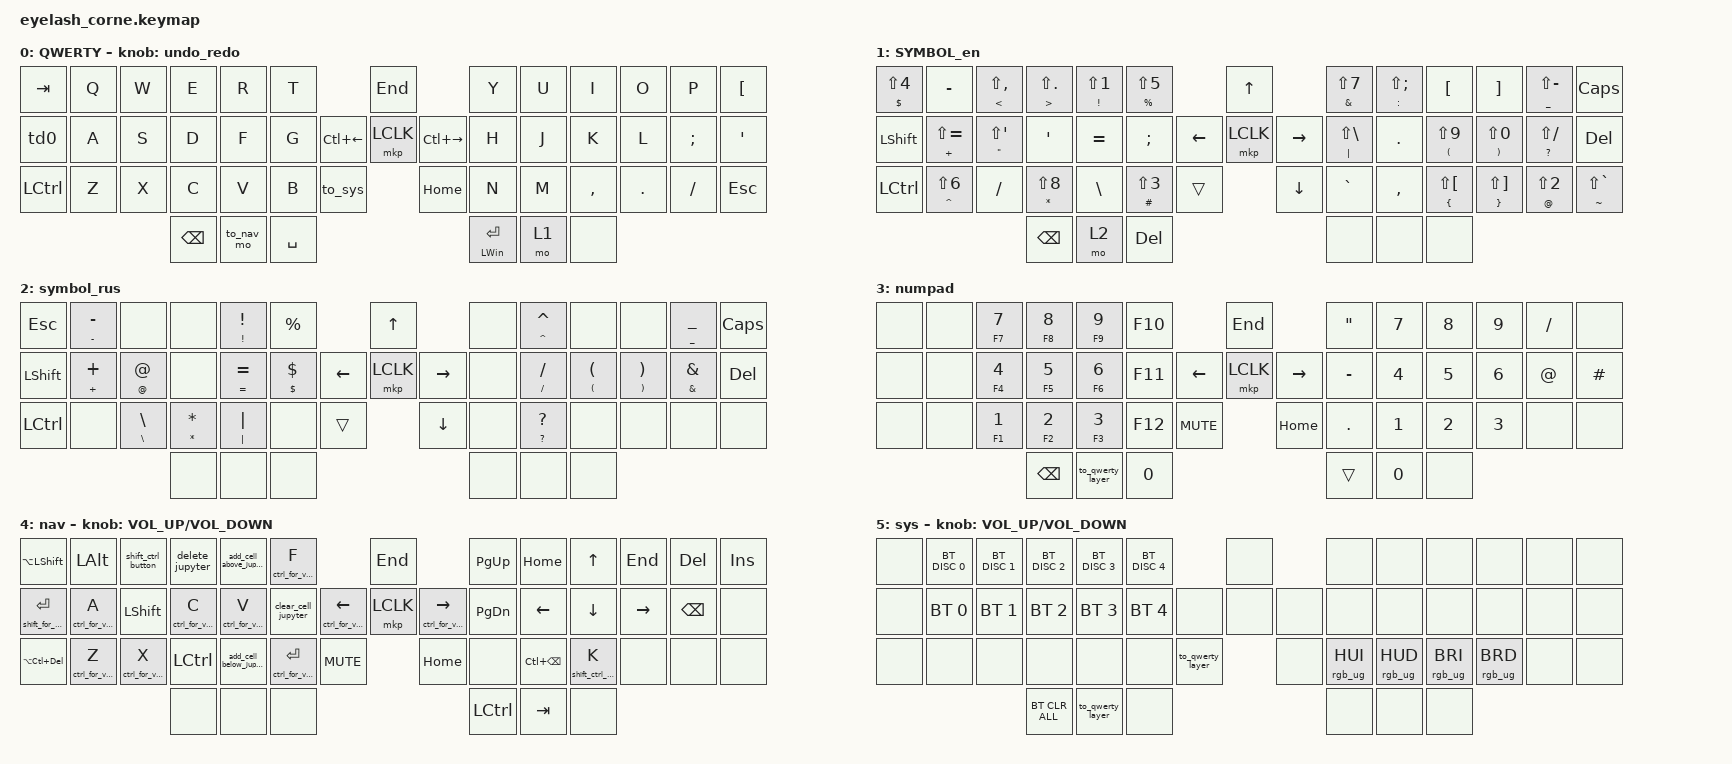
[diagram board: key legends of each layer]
#define ZMK_POINTING_DEFAULT_MOVE_VAL 1200  // 600
#define ZMK_POINTING_DEFAULT_SCRL_VAL 25   // 10

#include <input/processors.dtsi>
#include <zephyr/dt-bindings/input/input-event-codes.h>
#include <behaviors.dtsi>
#include <dt-bindings/zmk/bt.h>
#include <dt-bindings/zmk/keys.h>
#include <dt-bindings/zmk/pointing.h>
#include <dt-bindings/zmk/rgb.h>

&mmv_input_listener { input-processors = <&zip_xy_scaler 2 1>; };

&msc_input_listener { input-processors = <&zip_scroll_scaler 2 1>; };

&msc {
    acceleration-exponent = <1>;      // 0
    time-to-max-speed-ms = <100>;       // 300
    delay-ms = <0>;                   // 0
};

&mmv {
    time-to-max-speed-ms = <500>;
    acceleration-exponent = <1>;
    trigger-period-ms = <16>;
};

/ {
    behaviors {
        td0: td0 {
            compatible = "zmk,behavior-tap-dance";
            display-name = "Shift/Caps Lock Tap Dance";
            #binding-cells = <0>;
            bindings = <&capital_letter LEFT_SHIFT>, <&capital_word>;
        };

        auto_shift: auto_shift {
            compatible = "zmk,behavior-hold-tap";
            label = "AUTO_SHIFT";
            bindings = <&shift>, <&kp>;

            #binding-cells = <2>;
            tapping-term-ms = <180>;
            flavor = "tap-preferred";
        };

        undo_redo: undo_redo {
            compatible = "zmk,behavior-sensor-rotate";
            label = "UNDO_REDO";
            #sensor-binding-cells = <0>;
            bindings = <&kp LS(LC(Z))>, <&kp LC(Z)>;
        };

        capital_word: capital_word {
            compatible = "zmk,behavior-caps-word";
            label = "CAPITAL_WORD";
            #binding-cells = <0>;
            mods = <(MOD_LSFT)>;
            continue-list = <UNDERSCORE COMMA DOT LEFT_BRACKET RIGHT_BRACKET>;
        };

        capital_letter: capital_letter {
            compatible = "zmk,behavior-sticky-key";
            label = "CAPITAL_LETTER";
            bindings = <&kp>;
            #binding-cells = <1>;
            quick-release;
            release-after-ms = <2000>;
        };

        new_behavior: new_behavior {
            compatible = "zmk,behavior-caps-word";
            label = "NEW_BEHAVIOR";
            #binding-cells = <0>;
            mods = <(MOD_LSFT)>;
            continue-list = <UNDERSCORE COMMA DOT LEFT_BRACKET RIGHT_BRACKET SLASH SINGLE_QUOTE>;
        };
    };

    rgb_encoder: rgb_encoder {
        compatible = "zmk,behavior-sensor-rotate";
        #sensor-binding-cells = <0>;
        bindings = <&rgb_ug RGB_BRI>, <&rgb_ug RGB_BRD>;
    };

    scroll_encoder: scroll_encoder {
        compatible = "zmk,behavior-sensor-rotate";
        #sensor-binding-cells = <0>;
        bindings = <&msc SCRL_DOWN>, <&msc SCRL_UP>;

        tap-ms = <100>;
    };

    combos {
        compatible = "zmk,combos";

        to_numpad {
            bindings = <&to_numpad>;
            key-positions = <43 46>;
        };

        hard {
            bindings = <&kp RIGHT_BRACKET>;
            key-positions = <17 12>;
        };

        left_sk {
            bindings = <&kp LEFT_PARENTHESIS>;
            key-positions = <16 15>;
        };

        right_skb {
            bindings = <&kp RIGHT_PARENTHESIS>;
            key-positions = <25 24>;
        };

        left_br {
            bindings = <&kp LEFT_BRACKET>;
            key-positions = <3 2>;
        };

        right_br {
            bindings = <&kp RIGHT_BRACKET>;
            key-positions = <9 10>;
        };

        left_brace {
            bindings = <&kp LEFT_BRACE>;
            key-positions = <31 30>;
        };

        right_brace {
            bindings = <&kp RIGHT_BRACE>;
            key-positions = <38 39>;
        };

        dot {
            bindings = <&kp DOT>;
            key-positions = <23 24>;
        };

        quotes {
            bindings = <&kp SQT>;
            key-positions = <17 16>;
        };

        comma {
            bindings = <&kp COMMA>;
            key-positions = <37 24>;
        };

        ravno {
            bindings = <&kp EQUAL>;
            key-positions = <17 23>;
        };

        plus {
            bindings = <&kp PLUS>;
            key-positions = <4 8>;
        };

        minus {
            bindings = <&kp MINUS>;
            key-positions = <32 37>;
        };

        underscore {
            bindings = <&kp UNDERSCORE>;
            key-positions = <16 24>;
        };

        colon {
            bindings = <&kp COLON>;
            key-positions = <23 25>;
        };
    };

    macros {
        shift: shift {
            compatible = "zmk,behavior-macro-one-param";
            #binding-cells = <1>;
            bindings =
                <&macro_press>,
                <&kp LEFT_SHIFT>,
                <&macro_tap>,
                <&macro_param_1to1 &kp MACRO_PLACEHOLDER>,
                <&macro_release>,
                <&kp LEFT_SHIFT>;

            label = "SHIFT";
        };

        as: as {
            compatible = "zmk,behavior-macro-one-param";
            #binding-cells = <1>;
            bindings =
                <&macro_press>,
                <&macro_param_1to1 &macro_param_1to2 &auto_shift MACRO_PLACEHOLDER MACRO_PLACEHOLDER>,
                <&macro_pause_for_release>,
                <&macro_release>,
                <&macro_param_1to1 &macro_param_1to2 &auto_shift MACRO_PLACEHOLDER MACRO_PLACEHOLDER>;

            label = "AS";
        };

        to_sys: to_sys {
            compatible = "zmk,behavior-macro";
            #binding-cells = <0>;
            bindings =
                <&macro_press>,
                <&rgb_ug RGB_COLOR_HSB(0,90,49) &rgb_ug RGB_ON &to 5>,
                <&macro_release>;

            label = "TO_SYS";
        };

        to_qwerty_layer: to_symbol_layer {
            compatible = "zmk,behavior-macro";
            #binding-cells = <0>;
            bindings =
                <&macro_press>,
                <&rgb_ug RGB_OFF &to 0>,
                <&macro_release>;

            label = "TO_SYMBOL_LAYER";
        };

        to_numpad: to_numpad {
            compatible = "zmk,behavior-macro";
            #binding-cells = <0>;
            bindings =
                <&macro_press>,
                <&rgb_ug RGB_COLOR_HSB(215,90,49) &rgb_ug RGB_ON &to 3>,
                <&macro_release>;

            label = "TO_NUMPAD";
        };

        delete_jupyter: delete_jupyter {
            compatible = "zmk,behavior-macro";
            #binding-cells = <0>;
            bindings =
                <&macro_tap>,
                <&kp ESC>,
                <&macro_tap>,
                <&kp D>,
                <&macro_tap>,
                <&kp D>,
                <&macro_tap>,
                <&kp ENTER>;

            label = "DELETE_JUPYTER";
        };

        add_cell_above_jupyter: add_cell_above_jupyter {
            compatible = "zmk,behavior-macro";
            #binding-cells = <0>;
            bindings =
                <&macro_tap>,
                <&kp ESC>,
                <&macro_tap>,
                <&kp A>,
                <&macro_tap>,
                <&kp ENTER>;

            label = "ADD_CELL_ABOVE_JUPYTER";
        };

        add_cell_below_jupyter: add_cell_below_jupyter {
            compatible = "zmk,behavior-macro";
            #binding-cells = <0>;
            bindings =
                <&macro_tap>,
                <&kp ESC>,
                <&macro_tap>,
                <&kp B>,
                <&macro_tap>,
                <&kp ENTER>;

            label = "ADD_CELL_BELOW_JUPYTER";
        };

        to_nav_mo: to_nav_mo {
            compatible = "zmk,behavior-macro";
            #binding-cells = <0>;
            bindings =
                <&macro_press>,
                <&mo 4>,
                <&macro_tap>,
                <&rgb_ug RGB_COLOR_HSB(116,90,49) &rgb_ug RGB_ON>,
                <&macro_pause_for_release>,
                <&macro_release>,
                <&mo 4>,
                <&macro_tap>,
                <&rgb_ug RGB_OFF>;

            label = "TO_NAV_MO";
        };

        shift_for_vrm: shift_for_vrm {
            compatible = "zmk,behavior-macro-one-param";
            #binding-cells = <1>;
            bindings =
                <&macro_press>,
                <&kp LEFT_SHIFT>,
                <&macro_wait_time 200>,
                <&macro_tap>,
                <&macro_param_1to1 &kp MACRO_PLACEHOLDER>,
                <&macro_release>,
                <&kp LEFT_SHIFT>;

            label = "SHIFT_FOR_VRM";
        };

        ctrl_for_vrm: ctrl_for_vrm {
            compatible = "zmk,behavior-macro-one-param";
            #binding-cells = <1>;
            bindings =
                <&macro_press>,
                <&kp LCTRL>,
                <&macro_wait_time 200>,
                <&macro_tap>,
                <&macro_param_1to1 &kp MACRO_PLACEHOLDER>,
                <&macro_release>,
                <&kp LCTRL>;

            label = "CTRL_FOR_VRM";
        };

        alt_tab_vrm: alt_tab_vrm {
            compatible = "zmk,behavior-macro";
            #binding-cells = <0>;
            bindings =
                <&macro_press>,
                <&kp LEFT_ALT>,
                <&macro_wait_time 200>,
                <&macro_tap>,
                <&kp TAB>,
                <&macro_pause_for_release>,
                <&macro_release>,
                <&kp LEFT_ALT>;

            label = "ALT_TAB_VRM";
        };

        clear_cell_jupyter: clear_cell_jupyter {
            compatible = "zmk,behavior-macro";
            #binding-cells = <0>;
            bindings =
                <&macro_tap>,
                <&kp ESCAPE>,
                <&macro_press>,
                <&kp LEFT_ALT>,
                <&macro_wait_time 200>,
                <&macro_tap>,
                <&kp C>,
                <&macro_release>,
                <&kp LEFT_ALT>;

            label = "CLEAR_CELL_JUPYTER";
        };

        shift_ctrl_vrm: shift_ctrl_vrm {
            compatible = "zmk,behavior-macro-one-param";
            #binding-cells = <1>;
            bindings =
                <&macro_press>,
                <&kp LEFT_SHIFT &kp LCTRL>,
                <&macro_wait_time 200>,
                <&macro_tap>,
                <&macro_param_1to1 &kp MACRO_PLACEHOLDER>,
                <&macro_release>,
                <&kp LEFT_SHIFT &kp LCTRL>;

            label = "SHIFT_CTRL_VRM";
        };

        shift_ctrl_button: shift_ctrl_button {
            compatible = "zmk,behavior-macro";
            #binding-cells = <0>;
            bindings =
                <&macro_press>,
                <&kp LEFT_SHIFT &kp LCTRL>,
                <&macro_pause_for_release>,
                <&macro_release>,
                <&kp LEFT_SHIFT &kp LCTRL>;

            label = "SHIFT_CTRL_BUTTON";
        };
    };

    keymap {
        compatible = "zmk,keymap";

        default_layer {
            display-name = "QWERTY";
            bindings = <
&kp TAB    &kp Q  &kp W  &kp E          &kp R       &kp T                                     &kp END                         &kp Y               &kp U  &kp I      &kp O    &kp P      &kp LEFT_BRACKET
&td0       &kp A  &kp S  &kp D          &kp F       &kp G                 &kp LC(LEFT_ARROW)  &mkp LCLK  &kp LC(RIGHT_ARROW)  &kp H               &kp J  &kp K      &kp L    &kp SEMI   &kp SQT
&kp LCTRL  &kp Z  &kp X  &kp C          &kp V       &kp B      &to_sys                        &kp HOME                        &kp N               &kp M  &kp COMMA  &kp DOT  &kp SLASH  &kp ESCAPE
                         &kp BACKSPACE  &to_nav_mo  &kp SPACE                                                                 &mt LEFT_WIN ENTER  &mo 1  &none
            >;

            sensor-bindings = <&undo_redo>;
        };

        symbol_eng {
            display-name = "SYMBOL_en";
            bindings = <
&auto_shift DOLLAR LS(NUMBER_4)  &kp MINUS                       &auto_shift LESS_THAN LS(COMMA)    &auto_shift GREATER_THAN LS(PERIOD)  &auto_shift EXCLAMATION LS(NUMBER_1)  &auto_shift PERCENT LS(N5)                               &kp UP_ARROW               &auto_shift AMPERSAND LS(N7)    &auto_shift COLON LS(SEMI)  &kp LBKT                                 &kp RIGHT_BRACKET                          &auto_shift UNDERSCORE LS(MINUS)  &kp CAPS
&kp LEFT_SHIFT                   &auto_shift PLUS LS(EQUAL)      &auto_shift DOUBLE_QUOTES LS(SQT)  &kp SINGLE_QUOTE                     &kp EQUAL                             &kp SEMICOLON                            &kp LEFT_ARROW  &mkp LCLK       &kp RIGHT  &auto_shift PIPE LS(BACKSLASH)  &kp DOT                     &auto_shift LEFT_PARENTHESIS LS(N9)      &auto_shift RIGHT_PARENTHESIS LS(N0)       &auto_shift QUESTION LS(SLASH)    &kp DEL
&kp LCTRL                        &auto_shift CARET LS(NUMBER_6)  &kp SLASH                          &auto_shift ASTERISK LS(N8)          &kp BACKSLASH                         &auto_shift HASH LS(NUMBER_3)  &trans                    &kp DOWN_ARROW             &kp GRAVE                       &kp COMMA                   &auto_shift LEFT_BRACE LS(LEFT_BRACKET)  &auto_shift RIGHT_BRACE LS(RIGHT_BRACKET)  &auto_shift AT_SIGN LS(NUMBER_2)  &auto_shift TILDE LS(GRAVE)
                                                                                                    &kp BACKSPACE                        &mo 2                                 &kp DELETE                                                                          &none                           &none                       &none
            >;
        };

        symbol_rus {
            bindings = <
&kp ESC         &auto_shift MINUS MINUS  &none                            &none                          &auto_shift EXCLAMATION EXCLAMATION  &kp PERCENT                                    &kp UP_ARROW               &none  &auto_shift CARET CARET        &none                                          &none                                            &auto_shift UNDERSCORE UNDERSCORE  &kp CAPSLOCK
&kp LEFT_SHIFT  &auto_shift PLUS PLUS    &auto_shift AT_SIGN AT_SIGN      &none                          &auto_shift EQUAL EQUAL              &auto_shift DOLLAR DOLLAR            &kp LEFT  &mkp LCLK       &kp RIGHT  &none  &auto_shift SLASH SLASH        &auto_shift LEFT_PARENTHESIS LEFT_PARENTHESIS  &auto_shift RIGHT_PARENTHESIS RIGHT_PARENTHESIS  &auto_shift AMPERSAND AMPERSAND    &kp DEL
&kp LCTRL       &none                    &auto_shift BACKSLASH BACKSLASH  &auto_shift ASTERISK ASTERISK  &auto_shift PIPE PIPE                &none                      &trans              &kp DOWN_ARROW             &none  &auto_shift QUESTION QUESTION  &none                                          &none                                            &none                              &none
                                                                          &none                          &none                                &none                                                                     &none  &none                          &none
            >;
        };

        numpad {
            display-name = "numpad";
            bindings = <
&none  &none  &mt F7 NUMBER_7  &mt F8 NUMBER_8  &mt F9 NUMBER_9   &kp F10                                     &kp END               &kp DOUBLE_QUOTES  &kp NUMBER_7  &kp NUMBER_8  &kp NUMBER_9  &kp SLASH    &none
&none  &none  &mt F4 NUMBER_4  &mt F5 NUMBER_5  &mt F6 NUMBER_6   &kp F11                     &kp LEFT_ARROW  &mkp LCLK  &kp RIGHT  &kp MINUS          &kp NUMBER_4  &kp NUMBER_5  &kp NUMBER_6  &kp AT_SIGN  &kp POUND
&none  &none  &mt F1 NUMBER_1  &mt F2 NUMBER_2  &mt F3 NUMBER_3   &kp F12       &kp C_MUTE                    &kp HOME              &kp DOT            &kp NUMBER_1  &kp NUMBER_2  &kp NUMBER_3  &none        &none
                               &kp BACKSPACE    &to_qwerty_layer  &kp NUMBER_0                                                      &trans             &kp NUMBER_0  &none
            >;
        };

        navigation {
            display-name = "nav";
            bindings = <
&kp LA(LEFT_SHIFT)    &kp LEFT_ALT     &shift_ctrl_button  &delete_jupyter  &add_cell_above_jupyter  &ctrl_for_vrm F                                              &kp END                               &kp PG_UP      &kp HOME           &kp UP_ARROW       &kp END    &kp DEL        &kp INS
&shift_for_vrm ENTER  &ctrl_for_vrm A  &kp LEFT_SHIFT      &ctrl_for_vrm C  &ctrl_for_vrm V          &clear_cell_jupyter                &ctrl_for_vrm LEFT_ARROW  &mkp LCLK  &ctrl_for_vrm RIGHT_ARROW  &kp PAGE_DOWN  &kp LEFT_ARROW     &kp DOWN           &kp RIGHT  &kp BACKSPACE  &none
&kp LA(LC(DEL))       &ctrl_for_vrm Z  &ctrl_for_vrm X     &kp LCTRL        &add_cell_below_jupyter  &ctrl_for_vrm ENTER  &kp C_MUTE                              &kp HOME                              &none          &kp LC(BACKSPACE)  &shift_ctrl_vrm K  &none      &none          &none
                                                           &none            &none                    &none                                                                                              &kp LCTRL      &kp TAB            &none
            >;

            sensor-bindings = <&inc_dec_kp C_VOLUME_UP C_VOLUME_DOWN>;
        };

        kb_settings {
            display-name = "sys";
            bindings = <
&none  &bt BT_DISC 0  &bt BT_DISC 1  &bt BT_DISC 2   &bt BT_DISC 3     &bt BT_DISC 4                             &none         &none            &none            &none            &none            &none  &none
&none  &bt BT_SEL 0   &bt BT_SEL 1   &bt BT_SEL 2    &bt BT_SEL 3      &bt BT_SEL 4                       &none  &none  &none  &none            &none            &none            &none            &none  &none
&none  &none          &none          &none           &none             &none          &to_qwerty_layer           &none         &rgb_ug RGB_HUI  &rgb_ug RGB_HUD  &rgb_ug RGB_BRI  &rgb_ug RGB_BRD  &none  &none
                                     &bt BT_CLR_ALL  &to_qwerty_layer  &none                                                   &none            &none            &none
            >;

            sensor-bindings = <&inc_dec_kp C_VOLUME_UP C_VOLUME_DOWN>;
        };
    };
};
